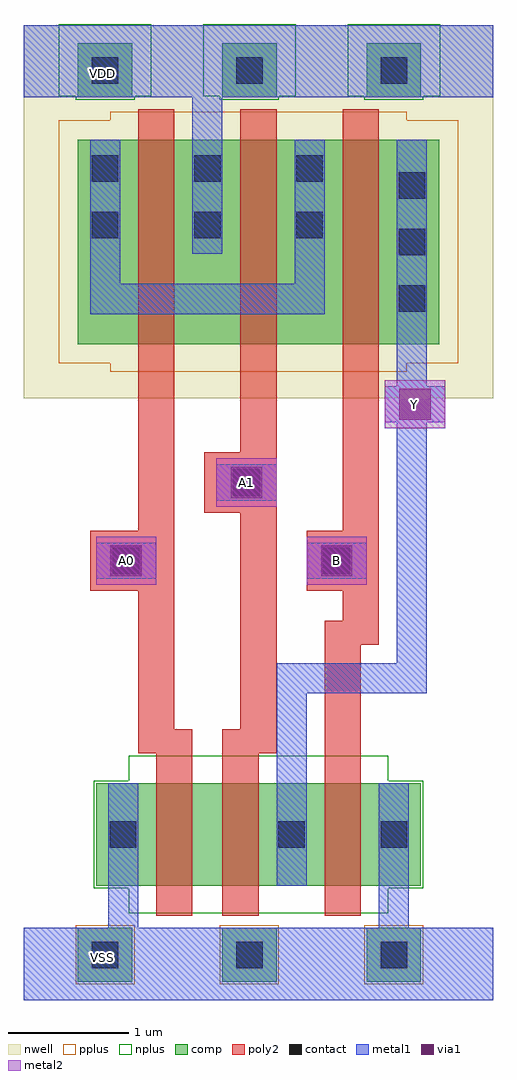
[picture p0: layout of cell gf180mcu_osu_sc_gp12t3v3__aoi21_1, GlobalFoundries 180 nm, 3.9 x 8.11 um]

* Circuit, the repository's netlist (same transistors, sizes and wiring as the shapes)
* Copyright 2022 Google LLC
*
* Licensed under the Apache License, Version 2.0 (the "License");
* you may not use this file except in compliance with the License.
* You may obtain a copy of the License at
*
*      http://www.apache.org/licenses/LICENSE-2.0
*
* Unless required by applicable law or agreed to in writing, software
* distributed under the License is distributed on an "AS IS" BASIS,
* WITHOUT WARRANTIES OR CONDITIONS OF ANY KIND, either express or implied.
* See the License for the specific language governing permissions and
* limitations under the License.

.inc "/import/yukari1/lrburle/OSU_180/char/techfiles/design.hspice"
.lib "/import/yukari1/lrburle/OSU_180/char/techfiles/sm141064.hspice" typical

.GLOBAL VDD
.GLOBAL VSS

.option scale=0.05u

.subckt gf180mcu_osu_sc_gp12t3v3__aoi21_1 Y A0 A1 B
X0 Y B a_9_109 VDD pmos_3p3 w=34 l=6
X1 a_9_109 A1 VDD VDD pmos_3p3 w=34 l=6
X2 VDD A0 a_9_109 VDD pmos_3p3 w=34 l=6
X3 VSS B Y VSS nmos_3p3 w=17 l=6
X4 a_28_19 A0 VSS VSS nmos_3p3 w=17 l=6
X5 Y A1 a_28_19 VSS nmos_3p3 w=17 l=6
.ends

** hspice subcircuit dictionary

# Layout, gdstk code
import gdstk
lib = gdstk.Library(unit=1e-6, precision=1e-09)
def R(c, l, rs):  # rectangles x0, y0, x1, y1
    for r in rs: c.add(gdstk.rectangle(r[:2], r[2:], *l))
def A(c, l, x, y, w, h, nx, ny, dx, dy):  # array of equal rectangles
    R(c, l, [(x+i*dx, y+j*dy, x+i*dx+w, y+j*dy+h) for i in range(nx) for j in range(ny)])
nwell = (21, 0)
comp = (22, 0)
poly2 = (30, 0)
pplus = (31, 0)
nplus = (32, 0)
contact = (33, 0)
metal1 = (34, 0)
via1 = (35, 0)
metal2 = (36, 0)

gf180mcu_osu_sc_gp12t3v3 = lib.new_cell('gf180mcu_osu_sc_gp12t3v3__aoi21_1')
R(gf180mcu_osu_sc_gp12t3v3, nwell, [(0,5,3.9,8.1)])
A(gf180mcu_osu_sc_gp12t3v3, comp, 0.45, 0.15, 0.45, 0.45, 3, 2, 1.2, 7.35)
R(gf180mcu_osu_sc_gp12t3v3, comp, [(0.6,0.95,3.3,1.8), (0.45,5.45,3.45,7.15)])
R(gf180mcu_osu_sc_gp12t3v3, poly2, [(1.1,0.7,1.4,2.05), (1.65,0.7,1.95,2.05), (2.5,0.7,2.8,2.95), (0.95,2.05,1.4,2.25), (1.65,2.05,2.1,2.25), (0.95,2.25,1.25,3.4), (1.8,2.25,2.1,4.05), (2.5,2.95,2.95,3.15), (2.65,3.15,2.95,3.4), (0.55,3.4,1.25,3.9), (2.35,3.4,2.95,3.9), (0.95,3.9,1.25,7.4), (2.65,3.9,2.95,7.4), (1.5,4.05,2.1,4.55), (1.8,4.55,2.1,7.4)])
A(gf180mcu_osu_sc_gp12t3v3, pplus, 0.43, 0.13, 0.49, 0.49, 3, 1, 1.2, 0)
R(gf180mcu_osu_sc_gp12t3v3, pplus, [(0.72,5.22,3.18,5.29), (0.29,5.29,3.61,7.31), (0.72,7.31,3.18,7.38)])
A(gf180mcu_osu_sc_gp12t3v3, nplus, 0.43, 7.48, 0.49, 0.03, 3, 1, 1.2, 0)
A(gf180mcu_osu_sc_gp12t3v3, nplus, 0.29, 7.51, 0.77, 0.6, 3, 1, 1.2, 0)
R(gf180mcu_osu_sc_gp12t3v3, nplus, [(0.87,0.72,3.03,0.93), (0.58,0.93,3.32,1.82), (0.87,1.82,3.03,2.03)])
A(gf180mcu_osu_sc_gp12t3v3, contact, 0.565, 0.265, 0.22, 0.22, 3, 2, 1.2, 7.35)
A(gf180mcu_osu_sc_gp12t3v3, contact, 3.115, 5.72, 0.22, 0.22, 1, 3, 0, 0.47)
A(gf180mcu_osu_sc_gp12t3v3, contact, 0.565, 6.33, 0.22, 0.22, 3, 2, 0.85, 0.47)
R(gf180mcu_osu_sc_gp12t3v3, contact, [(0.715,1.265,0.935,1.485), (2.115,1.265,2.335,1.485), (2.965,1.265,3.185,1.485), (0.74,3.54,0.96,3.76), (2.49,3.54,2.71,3.76), (1.74,4.19,1.96,4.41)])
R(gf180mcu_osu_sc_gp12t3v3, metal1, [(0,0,3.9,0.6), (0.7,0.6,0.95,1.8), (2.95,0.6,3.2,1.8), (2.1,0.95,2.35,2.55), (2.1,2.55,3.35,2.8), (3.1,2.8,3.35,4.8), (0.6,3.5,1.1,3.8), (2.35,3.5,2.85,3.8), (1.6,4.15,2.1,4.45), (3,4.8,3.5,5.1), (3.1,5.1,3.35,7.15), (0.55,5.7,2.5,5.95), (0.55,5.95,0.8,7.15), (2.25,5.95,2.5,7.15), (1.4,6.2,1.65,7.5), (0,7.5,3.9,8.1)])
R(gf180mcu_osu_sc_gp12t3v3, via1, [(0.72,3.52,0.98,3.78), (2.47,3.52,2.73,3.78), (1.72,4.17,1.98,4.43), (3.12,4.82,3.38,5.08)])
R(gf180mcu_osu_sc_gp12t3v3, metal2, [(0.6,3.45,1.1,3.85), (2.35,3.45,2.85,3.85), (1.6,4.1,2.1,4.5), (3,4.75,3.5,5.15)])
gf180mcu_osu_sc_gp12t3v3.add(gdstk.Label('VDD', (0.65,7.7), layer=34, texttype=0))
gf180mcu_osu_sc_gp12t3v3.add(gdstk.Label('VSS', (0.65,0.35), layer=34, texttype=0))
gf180mcu_osu_sc_gp12t3v3.add(gdstk.Label('Y', (3.25,4.95), layer=36, texttype=10))
gf180mcu_osu_sc_gp12t3v3.add(gdstk.Label('A0', (0.85,3.65), layer=36, texttype=10))
gf180mcu_osu_sc_gp12t3v3.add(gdstk.Label('A1', (1.85,4.3), layer=36, texttype=10))
gf180mcu_osu_sc_gp12t3v3.add(gdstk.Label('B', (2.6,3.65), layer=36, texttype=10))

lib.write_gds('gf180mcu_osu_sc_gp12t3v3__aoi21_1.gds')
